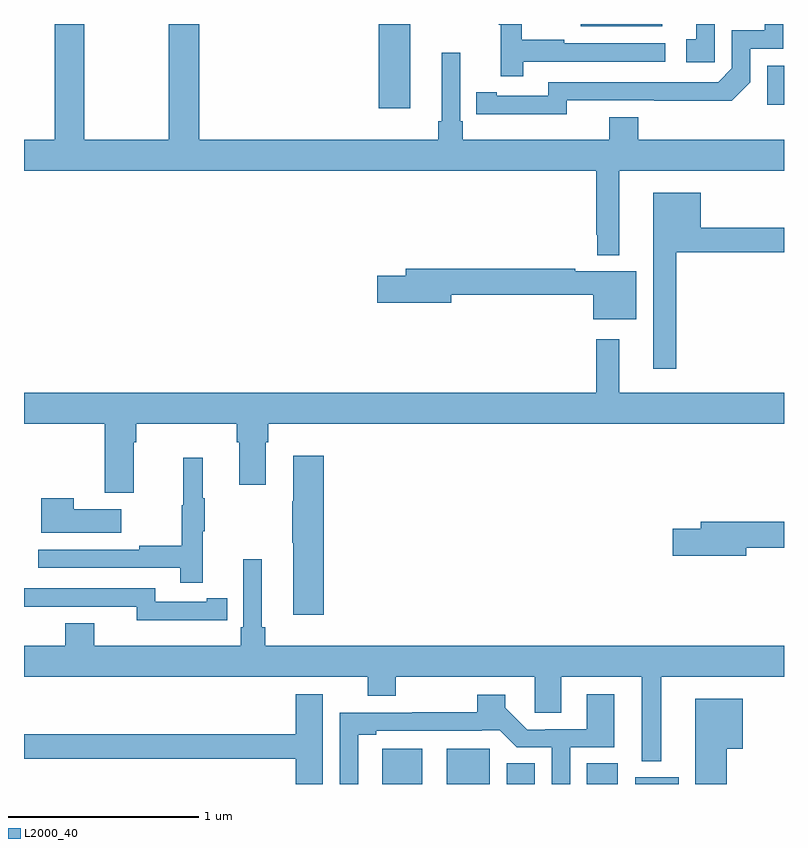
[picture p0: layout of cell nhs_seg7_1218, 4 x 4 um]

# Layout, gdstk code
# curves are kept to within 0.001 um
import gdstk
lib = gdstk.Library(unit=1e-6, precision=1e-09)
def R(c, l, rs):  # rectangles x0, y0, x1, y1
    for r in rs: c.add(gdstk.rectangle(r[:2], r[2:], *l))
def P(c, l, *ps):  # polygons
    for p in ps: c.add(gdstk.Polygon(p, *l))
L2000_40 = (2000, 40)

nhs_seg7_1218 = lib.new_cell('nhs_seg7_1218')
R(nhs_seg7_1218, L2000_40, [(196.886,1052,197.095,1052.185), (197.225,1052,197.452,1052.185), (197.54,1052,197.689,1052.108), (197.963,1052,198.124,1052.108), (198.218,1052,198.445,1052.035), (196.868,1055.556,197.032,1056), (198.912,1055.574,199,1055.781), (197.931,1055.987,198.358,1056)])
P(nhs_seg7_1218, L2000_40, [(197.627,1055.802),(198.376,1055.802),(198.376,1055.898),(197.843,1055.898),(197.843,1055.918),(197.62,1055.918),(197.62,1056),(197.499,1056),(197.499,1055.995),(197.51,1055.995),(197.51,1055.724),(197.627,1055.724)],
  [(198.133,1055.228),(199,1055.228),(199,1055.392),(198.233,1055.392),(198.233,1055.509),(198.08,1055.509),(198.08,1055.392),(197.309,1055.392),(197.309,1055.488),(197.295,1055.488),(197.295,1055.848),(197.198,1055.848),(197.198,1055.488),(197.179,1055.488),(197.179,1055.392),(195.923,1055.392),(195.923,1056),(195.763,1056),(195.763,1055.392),(195.318,1055.392),(195.318,1056),(195.163,1056),(195.163,1055.392),(195,1055.392),(195,1055.228),(198.012,1055.228),(198.012,1054.891),(198.018,1054.891),(198.018,1054.784),(198.133,1054.784)],
  [(198.636,1056),(198.539,1056),(198.539,1055.919),(198.486,1055.919),(198.486,1055.799),(198.636,1055.799)],
  [(197.856,1055.598),(198.724,1055.597),(198.822,1055.694),(198.822,1055.871),(198.996,1055.871),(198.996,1056),(198.899,1056),(198.899,1055.967),(198.726,1055.967),(198.726,1055.766),(198.654,1055.694),(197.76,1055.694),(197.76,1055.622),(197.488,1055.622),(197.488,1055.642),(197.38,1055.642),(197.38,1055.526),(197.856,1055.525)],
  [(198.433,1054.798),(199,1054.798),(199,1054.927),(198.562,1054.927),(198.562,1055.113),(198.311,1055.113),(198.311,1054.185),(198.433,1054.185)],
  [(198.223,1054.699),(197.9,1054.699),(197.9,1054.712),(197.009,1054.712),(197.009,1054.676),(196.86,1054.676),(196.86,1054.534),(197.248,1054.534),(197.248,1054.576),(197.996,1054.576),(197.996,1054.445),(198.223,1054.445)],
  [(195.577,1053.8),(195.59,1053.8),(195.59,1053.896),(196.121,1053.896),(196.121,1053.8),(196.133,1053.8),(196.133,1053.576),(196.273,1053.576),(196.273,1053.8),(196.286,1053.8),(196.286,1053.896),(199,1053.896),(199,1054.06),(198.133,1054.06),(198.133,1054.342),(198.012,1054.342),(198.012,1054.06),(195,1054.06),(195,1053.896),(195.425,1053.896),(195.425,1053.534),(195.577,1053.534)],
  [(196.577,1053.727),(196.418,1053.727),(196.418,1053.488),(196.411,1053.488),(196.411,1053.271),(196.418,1053.271),(196.418,1052.892),(196.577,1052.892)],
  [(195.941,1053.331),(195.952,1053.331),(195.952,1053.505),(195.941,1053.505),(195.941,1053.718),(195.838,1053.718),(195.838,1053.468),(195.831,1053.468),(195.831,1053.254),(195.607,1053.254),(195.607,1053.234),(195.075,1053.234),(195.075,1053.138),(195.823,1053.138),(195.823,1053.06),(195.941,1053.06)],
  [(195.511,1053.445),(195.263,1053.445),(195.263,1053.505),(195.092,1053.505),(195.092,1053.323),(195.511,1053.323)],
  [(198.802,1053.244),(199,1053.244),(199,1053.38),(198.563,1053.38),(198.563,1053.344),(198.414,1053.344),(198.414,1053.202),(198.802,1053.202)],
  [(198.355,1052.564),(199,1052.564),(199,1052.728),(196.271,1052.728),(196.271,1052.824),(196.252,1052.824),(196.252,1053.184),(196.155,1053.184),(196.155,1052.824),(196.142,1052.824),(196.142,1052.728),(195.37,1052.728),(195.37,1052.845),(195.218,1052.845),(195.218,1052.728),(195,1052.728),(195,1052.564),(196.808,1052.564),(196.808,1052.465),(196.956,1052.465),(196.956,1052.564),(197.688,1052.564),(197.688,1052.374),(197.827,1052.374),(197.827,1052.564),(198.251,1052.564),(198.251,1052.12),(198.355,1052.12)],
  [(195.962,1052.862),(196.07,1052.862),(196.07,1052.978),(195.962,1052.978),(195.962,1052.958),(195.69,1052.958),(195.69,1053.03),(195,1053.03),(195,1052.933),(195.134,1052.933),(195.134,1052.934),(195.594,1052.934),(195.594,1052.861),(195.962,1052.861)],
  [(196.573,1052.473),(196.43,1052.473),(196.43,1052.263),(195,1052.263),(195,1052.134),(196.43,1052.134),(196.43,1052),(196.573,1052)],
  [(196.758,1052.26),(196.855,1052.26),(196.855,1052.28),(197.408,1052.28),(197.408,1052.283),(197.504,1052.283),(197.594,1052.193),(197.778,1052.193),(197.778,1052),(197.874,1052),(197.874,1052.193),(198.106,1052.193),(198.106,1052.473),(197.963,1052.473),(197.963,1052.289),(197.743,1052.289),(197.743,1052.286),(197.649,1052.286),(197.533,1052.402),(197.533,1052.47),(197.386,1052.47),(197.386,1052.378),(197.044,1052.378),(197.044,1052.376),(196.662,1052.376),(196.662,1052),(196.758,1052)],
  [(198.699,1052.186),(198.784,1052.186),(198.784,1052.449),(198.533,1052.449),(198.533,1052),(198.699,1052)])

lib.write_gds('nhs_seg7_1218.gds')
